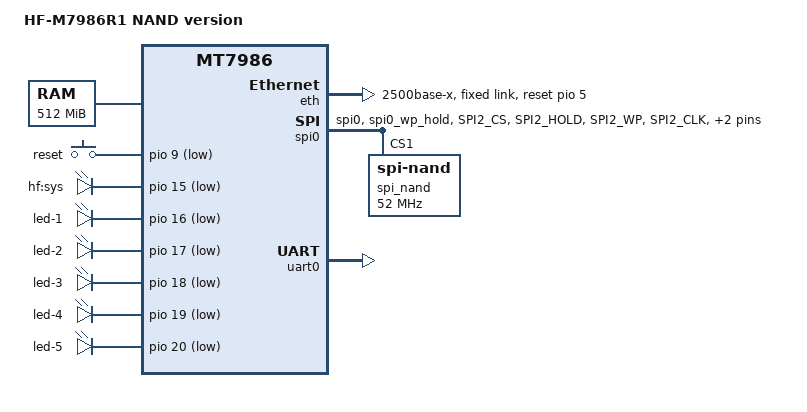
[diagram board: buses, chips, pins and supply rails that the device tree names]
// SPDX-License-Identifier: GPL-2.0-or-later OR MIT
// Hardware derived from lede DTS mt7986a-hf-m7986r1.dtsi + mt7986a-hf-m7986r1-nand.dts
// (mt7531 switch, 128MiB SPI-NAND), converted to uboot DTS idiom.

/dts-v1/;
#include "mt7986.dtsi"
#include <dt-bindings/gpio/gpio.h>
#include <dt-bindings/input/linux-event-codes.h>

/ {
	#address-cells = <1>;
	#size-cells = <1>;
	model = "HF-M7986R1 NAND version";
	compatible = "mediatek,mt7986", "mediatek,mt7986-rfb";

	chosen {
		stdout-path = &uart0;
		tick-timer = &timer0;
	};

	mtd-layout {
		layout@0 {
			label = "default";
			mtdids = "nmbm0=nmbm0";
			mtdparts = "nmbm0:1024k(bl2),512k(u-boot-env),2048k(factory),2048k(fip),125440k(ubi)";
		};

		layout@1 {
			label = "lede";
			mtdids = "nmbm0=nmbm0";
			mtdparts = "nmbm0:1024k(bl2),512k(u-boot-env),2048k(factory),2048k(fip),-(ubi)";
		};

		layout@2 {
			label = "256m";
			mtdids = "nmbm0=nmbm0";
			mtdparts = "nmbm0:1024k(bl2),512k(u-boot-env),2048k(factory),2048k(fip),-(ubi)";
		};

		layout@3 {
			label = "512m";
			mtdids = "nmbm0=nmbm0";
			mtdparts = "nmbm0:1024k(bl2),512k(u-boot-env),2048k(factory),2048k(fip),-(ubi)";
		};

		layout@4 {
			label = "expand(auto)";
			mtdids = "nmbm0=nmbm0";
			mtdparts = "nmbm0:1024k(bl2),512k(u-boot-env),2048k(factory),2048k(fip),-(ubi)";
		};
	};

	config {
		bootcmd = "mtkboardboot";
		blink_led = "hf:sys";
		system_led = "hf:sys";
	};

	memory@40000000 {
		device_type = "memory";
		reg = <0x40000000 0x20000000>;
	};

	gpio-keys {
		compatible = "gpio-keys";

		button-reset {
			label = "reset";
			linux,code = <KEY_RESTART>;
			gpios = <&pio 9 GPIO_ACTIVE_LOW>;
		};
	};

	gpio-leds {
		compatible = "gpio-leds";

		sys_led: led-0 {
			label = "hf:sys";
			gpios = <&pio 15 GPIO_ACTIVE_LOW>;
		};

		led-1 {
			label = "led-1";
			gpios = <&pio 16 GPIO_ACTIVE_LOW>;
		};

		led-2 {
			label = "led-2";
			gpios = <&pio 17 GPIO_ACTIVE_LOW>;
		};

		led-3 {
			label = "led-3";
			gpios = <&pio 18 GPIO_ACTIVE_LOW>;
		};

		led-4 {
			label = "led-4";
			gpios = <&pio 19 GPIO_ACTIVE_LOW>;
		};

		led-5 {
			label = "led-5";
			gpios = <&pio 20 GPIO_ACTIVE_LOW>;
		};
	};

	bl2_verify {
		bl2_compatible = "spim-nand";
	};
};

&eth {
	status = "okay";
	mediatek,gmac-id = <0>;
	phy-mode = "2500base-x";
	mediatek,switch = "auto";
	reset-gpios = <&pio 5 GPIO_ACTIVE_HIGH>;

	fixed-link {
		speed = <2500>;
		full-duplex;
	};
};

&pio {
	spi_flash_pins: spi0-pins-func-1 {
		mux {
			function = "flash";
			groups = "spi0", "spi0_wp_hold";
		};

		conf-pu {
			pins = "SPI2_CS", "SPI2_HOLD", "SPI2_WP";
			drive-strength = <MTK_DRIVE_4mA>;
			bias-pull-up = <MTK_PUPD_SET_R1R0_11>;
		};

		conf-pd {
			pins = "SPI2_CLK", "SPI2_MOSI", "SPI2_MISO";
			drive-strength = <MTK_DRIVE_4mA>;
			bias-pull-down = <MTK_PUPD_SET_R1R0_11>;
		};
	};
};

&spi0 {
	#address-cells = <1>;
	#size-cells = <0>;
	pinctrl-names = "default";
	pinctrl-0 = <&spi_flash_pins>;
	status = "okay";
	must_tx;
	enhance_timing;
	dma_ext;
	ipm_design;
	support_quad;
	tick_dly = <2>;
	sample_sel = <0>;

	spi_nand@0 {
		compatible = "spi-nand";
		reg = <1>;
		spi-max-frequency = <52000000>;
	};
};

&uart0 {
	status = "okay";
};

&watchdog {
	status = "disabled";
};
